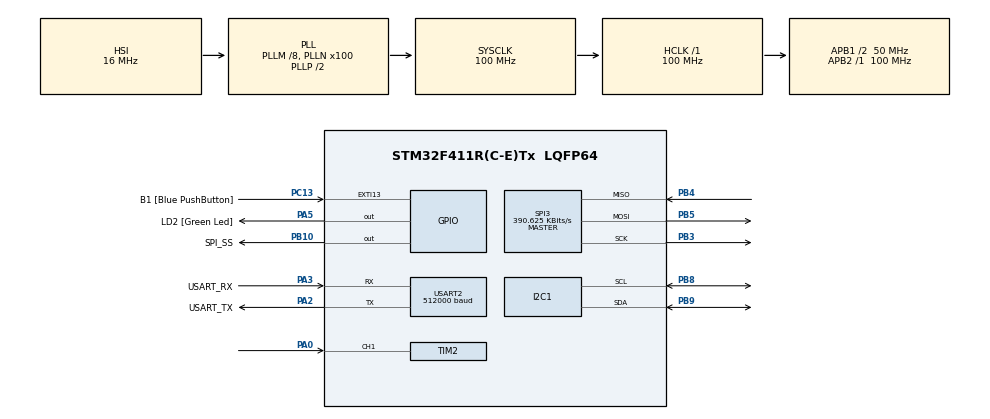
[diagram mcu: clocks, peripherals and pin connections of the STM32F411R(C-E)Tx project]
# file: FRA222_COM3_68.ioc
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ADC1.Channel-0\#ChannelRegularConversion=ADC_CHANNEL_TEMPSENSOR
ADC1.ContinuousConvMode=DISABLE
ADC1.DMAContinuousRequests=ENABLE
ADC1.ExternalTrigConv=ADC_EXTERNALTRIGCONV_T3_TRGO
ADC1.NbrOfConversionFlag=1
ADC1.Rank-0\#ChannelRegularConversion=1
ADC1.SamplingTime-0\#ChannelRegularConversion=ADC_SAMPLETIME_28CYCLES
ADC1.ScanConvMode=DISABLE
ADC1.master=1
Dma.ADC1.0.Direction=DMA_PERIPH_TO_MEMORY
Dma.ADC1.0.FIFOMode=DMA_FIFOMODE_DISABLE
Dma.ADC1.0.Instance=DMA2_Stream0
Dma.ADC1.0.MemDataAlignment=DMA_MDATAALIGN_HALFWORD
Dma.ADC1.0.MemInc=DMA_MINC_ENABLE
Dma.ADC1.0.Mode=DMA_CIRCULAR
Dma.ADC1.0.PeriphDataAlignment=DMA_PDATAALIGN_HALFWORD
Dma.ADC1.0.PeriphInc=DMA_PINC_DISABLE
Dma.ADC1.0.Priority=DMA_PRIORITY_LOW
Dma.Request0=ADC1
Dma.Request1=TIM2_CH1
Dma.TIM2_CH1.1.Direction=DMA_PERIPH_TO_MEMORY
Dma.TIM2_CH1.1.FIFOMode=DMA_FIFOMODE_DISABLE
Dma.TIM2_CH1.1.Instance=DMA1_Stream5
Dma.TIM2_CH1.1.MemDataAlignment=DMA_MDATAALIGN_WORD
Dma.TIM2_CH1.1.MemInc=DMA_MINC_ENABLE
Dma.TIM2_CH1.1.Mode=DMA_CIRCULAR
Dma.TIM2_CH1.1.PeriphDataAlignment=DMA_PDATAALIGN_WORD
Dma.TIM2_CH1.1.PeriphInc=DMA_PINC_DISABLE
Dma.TIM2_CH1.1.Priority=DMA_PRIORITY_LOW
I2C1.I2C_Mode=I2C_Fast
Mcu.Family=STM32F4
Mcu.Name=STM32F411R(C-E)Tx
Mcu.Package=LQFP64
NVIC.ADC_IRQn=true\:0\:0\:false\:false\:true\:true\:true\:true
NVIC.DMA1_Stream5_IRQn=true\:0\:0\:false\:false\:true\:false\:true\:true
NVIC.DMA2_Stream0_IRQn=true\:0\:0\:false\:false\:true\:false\:true\:true
NVIC.I2C1_ER_IRQn=true\:0\:0\:false\:false\:true\:true\:true\:true
NVIC.I2C1_EV_IRQn=true\:0\:0\:false\:false\:true\:true\:true\:true
NVIC.PriorityGroup=NVIC_PRIORITYGROUP_0
NVIC.SPI3_IRQn=true\:0\:0\:false\:false\:true\:true\:true\:true
NVIC.TIM1_TRG_COM_TIM11_IRQn=true\:0\:0\:false\:false\:true\:true\:true\:true
NVIC.TIM3_IRQn=true\:0\:0\:false\:false\:true\:true\:true\:true
NVIC.USART2_IRQn=true\:0\:0\:false\:false\:true\:true\:true\:true
PA0-WKUP.Signal=S_TIM2_CH1_ETR
PA13.GPIO_Label=TMS
PA13.Mode=Serial_Wire
PA13.Signal=SYS_JTMS-SWDIO
PA14.GPIO_Label=TCK
PA14.Mode=Serial_Wire
PA14.Signal=SYS_JTCK-SWCLK
PA2.GPIO_Label=USART_TX
PA2.Mode=Asynchronous
PA2.Signal=USART2_TX
PA3.GPIO_Label=USART_RX
PA3.Mode=Asynchronous
PA3.Signal=USART2_RX
PA5.GPIO_Label=LD2 [Green Led]
PA5.Signal=GPIO_Output
PB10.GPIO_Label=SPI_SS
PB10.PinState=GPIO_PIN_SET
PB10.Signal=GPIO_Output
PB3.Mode=Full_Duplex_Master
PB3.Signal=SPI3_SCK
PB4.Mode=Full_Duplex_Master
PB4.Signal=SPI3_MISO
PB5.Mode=Full_Duplex_Master
PB5.Signal=SPI3_MOSI
PB8.Mode=I2C
PB8.Signal=I2C1_SCL
PB9.Mode=I2C
PB9.Signal=I2C1_SDA
PC13-ANTI_TAMP.GPIO_Label=B1 [Blue PushButton]
PC13-ANTI_TAMP.GPIO_ModeDefaultEXTI=GPIO_MODE_IT_FALLING
PC13-ANTI_TAMP.Signal=GPXTI13
PC14-OSC32_IN.Mode=LSE-External-Oscillator
PC14-OSC32_IN.Signal=RCC_OSC32_IN
PC15-OSC32_OUT.Mode=LSE-External-Oscillator
PC15-OSC32_OUT.Signal=RCC_OSC32_OUT
PH0\ -\ OSC_IN.Mode=HSE-External-Clock-Source
PH0\ -\ OSC_IN.Signal=RCC_OSC_IN
PH1\ -\ OSC_OUT.Mode=HSE-External-Clock-Source
PH1\ -\ OSC_OUT.Signal=RCC_OSC_OUT
ProjectManager.HeapSize=0x200
ProjectManager.StackSize=0x400
ProjectManager.TargetToolchain=STM32CubeIDE
RCC.48MHZClocksFreq_Value=50000000
RCC.AHBFreq_Value=100000000
RCC.APB1CLKDivider=RCC_HCLK_DIV2
RCC.APB1Freq_Value=50000000
RCC.APB1TimFreq_Value=100000000
RCC.APB2Freq_Value=100000000
RCC.APB2TimFreq_Value=100000000
RCC.CortexFreq_Value=100000000
RCC.FLatency-AdvancedSettings=FLASH_LATENCY_3
RCC.HCLKFreq_Value=100000000
RCC.HSE_VALUE=8000000
RCC.HSI_VALUE=16000000
RCC.PLLM=8
RCC.PLLN=100
RCC.SYSCLKFreq_VALUE=100000000
RCC.SYSCLKSource=RCC_SYSCLKSOURCE_PLLCLK
RCC.VCOOutputFreq_Value=200000000
SH.S_TIM2_CH1_ETR.0=TIM2_CH1,Input_Capture1_from_TI1
SPI3.BaudRatePrescaler=SPI_BAUDRATEPRESCALER_128
SPI3.CalculateBaudRate=390.625 KBits/s
SPI3.DataSize=SPI_DATASIZE_8BIT
SPI3.Direction=SPI_DIRECTION_2LINES
SPI3.Mode=SPI_MODE_MASTER
SPI3.VirtualType=VM_MASTER
TIM11.Prescaler=99
TIM2.Channel-Input_Capture1_from_TI1=TIM_CHANNEL_1
TIM2.ICPolarity_CH1=TIM_INPUTCHANNELPOLARITY_FALLING
TIM2.Prescaler=9999
TIM3.Period=9999
TIM3.Prescaler=9999
TIM3.TIM_MasterOutputTrigger=TIM_TRGO_UPDATE
USART2.BaudRate=512000
USART2.Parity=PARITY_EVEN
USART2.VirtualMode=VM_ASYNC
USART2.WordLength=WORDLENGTH_9B
VP_ADC1_TempSens_Input.Mode=IN-TempSens
VP_TIM11_VS_ClockSourceINT.Mode=Enable_Timer
VP_TIM2_VS_ClockSourceINT.Mode=Internal
VP_TIM3_VS_ClockSourceINT.Mode=Internal
board=NUCLEO-F411RE

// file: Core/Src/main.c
/* USER CODE BEGIN Header */
// Code by Athimet
// Write at 70 BangWaek3 Phasi Charoen 10160 [Athimet home]
//test-
/**
  ******************************************************************************
  * @file           : main.c
  * @brief          : Main program body
  ******************************************************************************
  * @attention
  *
  * Copyright (c) 2022 STMicroelectronics.
  * All rights reserved.
  *
  * This software is licensed under terms that can be found in the LICENSE file
  * in the root directory of this software component.
  * If no LICENSE file comes with this software, it is provided AS-IS.
  *
  ******************************************************************************
  */
/* USER CODE END Header */
#include "main.h"

/* USER CODE BEGIN Includes */
#include <stdio.h>
#include <string.h>
/* USER CODE END Includes */

/* USER CODE BEGIN PD */
#define EEPROM_ADDR 0b10100000
#define WAIT_ADDR 0x0A
#define OPER_ADDR 0x1A
#define ENDS_ADDR 0x3A
#define CAPTURENUM 13
/* USER CODE END PD */

 ADC_HandleTypeDef hadc1;
DMA_HandleTypeDef hdma_adc1;

I2C_HandleTypeDef hi2c1;

SPI_HandleTypeDef hspi3;

TIM_HandleTypeDef htim2;
TIM_HandleTypeDef htim3;
TIM_HandleTypeDef htim11;
DMA_HandleTypeDef hdma_tim2_ch1;

UART_HandleTypeDef huart2;

/* USER CODE BEGIN PV */
// System time
uint64_t _micro = 0;
uint64_t timestampOpration = 0;
 // Robot
 typedef struct{
	 // val 0-255
	uint8_t WaitingTimeBuffer;
	uint8_t OperationTimeBuffer ;
	uint8_t EndStationBuffer ;
 	uint8_t WaitingTime;
 	uint8_t OperationTime ;
 	uint8_t EndStation ;
 	uint8_t StartStation ;

 }RobotManagement;

 static RobotManagement Robot;
 // State Machine
 static enum {init,StanBy,ParamSetting,StantionChoosing,EEpromWriteState,EEpromReadState} MCState = init;
 static enum {UserChooseWhatToDo,WaitingTimeEdit,OperationTimeEdit} ParamEditState = UserChooseWhatToDo;
 static enum {UserChooseStation,EEpromWriteState4ROBOT,RobotOperatingPart1,RobotOperatingPart2} StantionChoosingState = UserChooseStation;
 // UART PROTOCAL
 // Buffer
 char TxDataBuffer[64] =
 { 0 };
 // 1 key Only Program
 char RxDataBuffer[2] =
 { -1 };
 int8_t flagUART = 0;
 int16_t inputchar;

 // I2C
 uint8_t eepromWriteFlag = 0;
 uint8_t eepromReadFlag = 0;
 uint8_t eepromDataReadBack[3];
 uint16_t dataLen = 3 ;
 static uint8_t Senddata[3] = {0};

 // SPI
 // ADDR 0b 0100 0000
 uint8_t MCP23S17_OP = 0x40;
 uint8_t MCP23S17_GPIOA_ADDR = 0x15;
 static uint8_t OutputPacket[0x3];

 // ADC Temp
 uint16_t ADCin = 0;
 uint16_t Temp100Sec[100] = {0};
 uint8_t TempPos = 0;
 uint16_t Currenttemp =0;

 // InputCap
 uint32_t DMAdatabuffer[CAPTURENUM] = {0};
 // Diff time
 uint32_t DMATime[CAPTURENUM-1] = {0};
 // Mean time
 float AvgCPS = 0, Meantime = 0;

/* USER CODE END PV */

void SystemClock_Config(void);
static void MX_GPIO_Init(void);
static void MX_USART2_UART_Init(void);
static void MX_I2C1_Init(void);
static void MX_SPI3_Init(void);
static void MX_TIM3_Init(void);
static void MX_DMA_Init(void);
static void MX_TIM11_Init(void);
static void MX_ADC1_Init(void);
static void MX_TIM2_Init(void);
/* USER CODE BEGIN PFP */
uint64_t micros();
void StateMachineManagment();
int16_t UARTRecieveIT();
void EEPROMWriteFcn(uint8_t *Wdata, uint16_t len, uint16_t MemAd);
void EEPROMReadFcn(uint8_t *Rdata, uint16_t len, uint16_t MemAd);
void MCP23017SetOutput(uint8_t OP, uint8_t ADDR, uint8_t Data);
void MCP23017SetInit();
void CPSReaderCycle();
/* USER CODE END PFP */

int main(void)
{

  /* MCU Configuration--------------------------------------------------------*/

  /* Reset of all peripherals, Initializes the Flash interface and the Systick. */
  HAL_Init();

  /* Configure the system clock */
  SystemClock_Config();

  /* Initialize all configured peripherals */
  MX_GPIO_Init();
  MX_USART2_UART_Init();
  MX_I2C1_Init();
  MX_SPI3_Init();
  MX_TIM3_Init();
  MX_DMA_Init();
  MX_TIM11_Init();
  MX_ADC1_Init();
  MX_TIM2_Init();
  /* USER CODE BEGIN 2 */
  HAL_Delay(100);
  MCP23017SetInit();
	// Start Timer
	HAL_TIM_Base_Start_IT(&htim3);
	HAL_TIM_Base_Start_IT(&htim11);
	HAL_TIM_Base_Start(&htim2);
	// Start Input Cap
	HAL_TIM_IC_Start_DMA(&htim2, TIM_CHANNEL_1, (uint32_t*) &DMAdatabuffer, CAPTURENUM);
	// Start ADC
	HAL_ADC_Start_DMA(&hadc1, (uint32_t*) &ADCin, 1);
  /* USER CODE END 2 */

  /* Infinite loop */
  /* USER CODE BEGIN WHILE */
  while (1)
  {
	  StateMachineManagment();
		static uint64_t timestampCps = 0;
		if (micros() - timestampCps > 1000)
		{
			timestampCps = micros();
			CPSReaderCycle();
		}

    /* USER CODE END WHILE */

  }
}

void SystemClock_Config(void)
{
  RCC_OscInitTypeDef RCC_OscInitStruct = {0};
  RCC_ClkInitTypeDef RCC_ClkInitStruct = {0};

  /** Configure the main internal regulator output voltage
  */
  __HAL_RCC_PWR_CLK_ENABLE();
  __HAL_PWR_VOLTAGESCALING_CONFIG(PWR_REGULATOR_VOLTAGE_SCALE1);

  /** Initializes the RCC Oscillators according to the specified parameters
  * in the RCC_OscInitTypeDef structure.
  */
  RCC_OscInitStruct.OscillatorType = RCC_OSCILLATORTYPE_HSI;
  RCC_OscInitStruct.HSIState = RCC_HSI_ON;
  RCC_OscInitStruct.HSICalibrationValue = RCC_HSICALIBRATION_DEFAULT;
  RCC_OscInitStruct.PLL.PLLState = RCC_PLL_ON;
  RCC_OscInitStruct.PLL.PLLSource = RCC_PLLSOURCE_HSI;
  RCC_OscInitStruct.PLL.PLLM = 8;
  RCC_OscInitStruct.PLL.PLLN = 100;
  RCC_OscInitStruct.PLL.PLLP = RCC_PLLP_DIV2;
  RCC_OscInitStruct.PLL.PLLQ = 4;
  if (HAL_RCC_OscConfig(&RCC_OscInitStruct) != HAL_OK)
  {
    Error_Handler();
  }

  /** Initializes the CPU, AHB and APB buses clocks
  */
  RCC_ClkInitStruct.ClockType = RCC_CLOCKTYPE_HCLK|RCC_CLOCKTYPE_SYSCLK
                              |RCC_CLOCKTYPE_PCLK1|RCC_CLOCKTYPE_PCLK2;
  RCC_ClkInitStruct.SYSCLKSource = RCC_SYSCLKSOURCE_PLLCLK;
  RCC_ClkInitStruct.AHBCLKDivider = RCC_SYSCLK_DIV1;
  RCC_ClkInitStruct.APB1CLKDivider = RCC_HCLK_DIV2;
  RCC_ClkInitStruct.APB2CLKDivider = RCC_HCLK_DIV1;

  if (HAL_RCC_ClockConfig(&RCC_ClkInitStruct, FLASH_LATENCY_3) != HAL_OK)
  {
    Error_Handler();
  }
}

static void MX_ADC1_Init(void)
{

  ADC_ChannelConfTypeDef sConfig = {0};

  /** Configure the global features of the ADC (Clock, Resolution, Data Alignment and number of conversion)
  */
  hadc1.Instance = ADC1;
  hadc1.Init.ClockPrescaler = ADC_CLOCK_SYNC_PCLK_DIV4;
  hadc1.Init.Resolution = ADC_RESOLUTION_12B;
  hadc1.Init.ScanConvMode = DISABLE;
  hadc1.Init.ContinuousConvMode = DISABLE;
  hadc1.Init.DiscontinuousConvMode = DISABLE;
  hadc1.Init.ExternalTrigConvEdge = ADC_EXTERNALTRIGCONVEDGE_RISING;
  hadc1.Init.ExternalTrigConv = ADC_EXTERNALTRIGCONV_T3_TRGO;
  hadc1.Init.DataAlign = ADC_DATAALIGN_RIGHT;
  hadc1.Init.NbrOfConversion = 1;
  hadc1.Init.DMAContinuousRequests = ENABLE;
  hadc1.Init.EOCSelection = ADC_EOC_SINGLE_CONV;
  if (HAL_ADC_Init(&hadc1) != HAL_OK)
  {
    Error_Handler();
  }

  /** Configure for the selected ADC regular channel its corresponding rank in the sequencer and its sample time.
  */
  sConfig.Channel = ADC_CHANNEL_TEMPSENSOR;
  sConfig.Rank = 1;
  sConfig.SamplingTime = ADC_SAMPLETIME_28CYCLES;
  if (HAL_ADC_ConfigChannel(&hadc1, &sConfig) != HAL_OK)
  {
    Error_Handler();
  }

}

static void MX_I2C1_Init(void)
{

  hi2c1.Instance = I2C1;
  hi2c1.Init.ClockSpeed = 400000;
  hi2c1.Init.DutyCycle = I2C_DUTYCYCLE_2;
  hi2c1.Init.OwnAddress1 = 0;
  hi2c1.Init.AddressingMode = I2C_ADDRESSINGMODE_7BIT;
  hi2c1.Init.DualAddressMode = I2C_DUALADDRESS_DISABLE;
  hi2c1.Init.OwnAddress2 = 0;
  hi2c1.Init.GeneralCallMode = I2C_GENERALCALL_DISABLE;
  hi2c1.Init.NoStretchMode = I2C_NOSTRETCH_DISABLE;
  if (HAL_I2C_Init(&hi2c1) != HAL_OK)
  {
    Error_Handler();
  }

}

static void MX_SPI3_Init(void)
{

  /* SPI3 parameter configuration*/
  hspi3.Instance = SPI3;
  hspi3.Init.Mode = SPI_MODE_MASTER;
  hspi3.Init.Direction = SPI_DIRECTION_2LINES;
  hspi3.Init.DataSize = SPI_DATASIZE_8BIT;
  hspi3.Init.CLKPolarity = SPI_POLARITY_LOW;
  hspi3.Init.CLKPhase = SPI_PHASE_1EDGE;
  hspi3.Init.NSS = SPI_NSS_SOFT;
  hspi3.Init.BaudRatePrescaler = SPI_BAUDRATEPRESCALER_128;
  hspi3.Init.FirstBit = SPI_FIRSTBIT_MSB;
  hspi3.Init.TIMode = SPI_TIMODE_DISABLE;
  hspi3.Init.CRCCalculation = SPI_CRCCALCULATION_DISABLE;
  hspi3.Init.CRCPolynomial = 10;
  if (HAL_SPI_Init(&hspi3) != HAL_OK)
  {
    Error_Handler();
  }

}

static void MX_TIM2_Init(void)
{

  TIM_ClockConfigTypeDef sClockSourceConfig = {0};
  TIM_MasterConfigTypeDef sMasterConfig = {0};
  TIM_IC_InitTypeDef sConfigIC = {0};

  htim2.Instance = TIM2;
  htim2.Init.Prescaler = 9999;
  htim2.Init.CounterMode = TIM_COUNTERMODE_UP;
  htim2.Init.Period = 4294967295;
  htim2.Init.ClockDivision = TIM_CLOCKDIVISION_DIV1;
  htim2.Init.AutoReloadPreload = TIM_AUTORELOAD_PRELOAD_DISABLE;
  if (HAL_TIM_Base_Init(&htim2) != HAL_OK)
  {
    Error_Handler();
  }
  sClockSourceConfig.ClockSource = TIM_CLOCKSOURCE_INTERNAL;
  if (HAL_TIM_ConfigClockSource(&htim2, &sClockSourceConfig) != HAL_OK)
  {
    Error_Handler();
  }
  if (HAL_TIM_IC_Init(&htim2) != HAL_OK)
  {
    Error_Handler();
  }
  sMasterConfig.MasterOutputTrigger = TIM_TRGO_RESET;
  sMasterConfig.MasterSlaveMode = TIM_MASTERSLAVEMODE_DISABLE;
  if (HAL_TIMEx_MasterConfigSynchronization(&htim2, &sMasterConfig) != HAL_OK)
  {
    Error_Handler();
  }
  sConfigIC.ICPolarity = TIM_INPUTCHANNELPOLARITY_FALLING;
  sConfigIC.ICSelection = TIM_ICSELECTION_DIRECTTI;
  sConfigIC.ICPrescaler = TIM_ICPSC_DIV1;
  sConfigIC.ICFilter = 0;
  if (HAL_TIM_IC_ConfigChannel(&htim2, &sConfigIC, TIM_CHANNEL_1) != HAL_OK)
  {
    Error_Handler();
  }

}

static void MX_TIM3_Init(void)
{

  TIM_ClockConfigTypeDef sClockSourceConfig = {0};
  TIM_MasterConfigTypeDef sMasterConfig = {0};

  htim3.Instance = TIM3;
  htim3.Init.Prescaler = 9999;
  htim3.Init.CounterMode = TIM_COUNTERMODE_UP;
  htim3.Init.Period = 9999;
  htim3.Init.ClockDivision = TIM_CLOCKDIVISION_DIV1;
  htim3.Init.AutoReloadPreload = TIM_AUTORELOAD_PRELOAD_DISABLE;
  if (HAL_TIM_Base_Init(&htim3) != HAL_OK)
  {
    Error_Handler();
  }
  sClockSourceConfig.ClockSource = TIM_CLOCKSOURCE_INTERNAL;
  if (HAL_TIM_ConfigClockSource(&htim3, &sClockSourceConfig) != HAL_OK)
  {
    Error_Handler();
  }
  sMasterConfig.MasterOutputTrigger = TIM_TRGO_UPDATE;
  sMasterConfig.MasterSlaveMode = TIM_MASTERSLAVEMODE_DISABLE;
  if (HAL_TIMEx_MasterConfigSynchronization(&htim3, &sMasterConfig) != HAL_OK)
  {
    Error_Handler();
  }

}

static void MX_TIM11_Init(void)
{

  htim11.Instance = TIM11;
  htim11.Init.Prescaler = 99;
  htim11.Init.CounterMode = TIM_COUNTERMODE_UP;
  htim11.Init.Period = 65535;
  htim11.Init.ClockDivision = TIM_CLOCKDIVISION_DIV1;
  htim11.Init.AutoReloadPreload = TIM_AUTORELOAD_PRELOAD_DISABLE;
  if (HAL_TIM_Base_Init(&htim11) != HAL_OK)
  {
    Error_Handler();
  }

}

static void MX_USART2_UART_Init(void)
{

  huart2.Instance = USART2;
  huart2.Init.BaudRate = 512000;
  huart2.Init.WordLength = UART_WORDLENGTH_9B;
  huart2.Init.StopBits = UART_STOPBITS_1;
  huart2.Init.Parity = UART_PARITY_EVEN;
  huart2.Init.Mode = UART_MODE_TX_RX;
  huart2.Init.HwFlowCtl = UART_HWCONTROL_NONE;
  huart2.Init.OverSampling = UART_OVERSAMPLING_16;
  if (HAL_UART_Init(&huart2) != HAL_OK)
  {
    Error_Handler();
  }

}

static void MX_DMA_Init(void)
{

  /* DMA controller clock enable */
  __HAL_RCC_DMA2_CLK_ENABLE();
  __HAL_RCC_DMA1_CLK_ENABLE();

  /* DMA interrupt init */
  /* DMA1_Stream5_IRQn interrupt configuration */
  HAL_NVIC_SetPriority(DMA1_Stream5_IRQn, 0, 0);
  HAL_NVIC_EnableIRQ(DMA1_Stream5_IRQn);
  /* DMA2_Stream0_IRQn interrupt configuration */
  HAL_NVIC_SetPriority(DMA2_Stream0_IRQn, 0, 0);
  HAL_NVIC_EnableIRQ(DMA2_Stream0_IRQn);

}

static void MX_GPIO_Init(void)
{
  GPIO_InitTypeDef GPIO_InitStruct = {0};

  /* GPIO Ports Clock Enable */
  __HAL_RCC_GPIOC_CLK_ENABLE();
  __HAL_RCC_GPIOH_CLK_ENABLE();
  __HAL_RCC_GPIOA_CLK_ENABLE();
  __HAL_RCC_GPIOB_CLK_ENABLE();

  /*Configure GPIO pin Output Level */
  HAL_GPIO_WritePin(LD2_GPIO_Port, LD2_Pin, GPIO_PIN_RESET);

  /*Configure GPIO pin Output Level */
  HAL_GPIO_WritePin(SPI_SS_GPIO_Port, SPI_SS_Pin, GPIO_PIN_SET);

  /*Configure GPIO pin : B1_Pin */
  GPIO_InitStruct.Pin = B1_Pin;
  GPIO_InitStruct.Mode = GPIO_MODE_IT_FALLING;
  GPIO_InitStruct.Pull = GPIO_NOPULL;
  HAL_GPIO_Init(B1_GPIO_Port, &GPIO_InitStruct);

  /*Configure GPIO pin : LD2_Pin */
  GPIO_InitStruct.Pin = LD2_Pin;
  GPIO_InitStruct.Mode = GPIO_MODE_OUTPUT_PP;
  GPIO_InitStruct.Pull = GPIO_NOPULL;
  GPIO_InitStruct.Speed = GPIO_SPEED_FREQ_LOW;
  HAL_GPIO_Init(LD2_GPIO_Port, &GPIO_InitStruct);

  /*Configure GPIO pin : SPI_SS_Pin */
  GPIO_InitStruct.Pin = SPI_SS_Pin;
  GPIO_InitStruct.Mode = GPIO_MODE_OUTPUT_PP;
  GPIO_InitStruct.Pull = GPIO_NOPULL;
  GPIO_InitStruct.Speed = GPIO_SPEED_FREQ_LOW;
  HAL_GPIO_Init(SPI_SS_GPIO_Port, &GPIO_InitStruct);

}

/* USER CODE BEGIN 4 */
void StateMachineManagment()
{
	switch (MCState)
	{
		case init:
			// Header
			sprintf(TxDataBuffer, "\r\n---Program Start---\r\n");
			HAL_UART_Transmit(&huart2, (uint8_t*)TxDataBuffer, strlen(TxDataBuffer), 1000);
			// Main
			// SET PSI
			MCP23017SetOutput(MCP23S17_OP,MCP23S17_GPIOA_ADDR,0xFF);
			// State init
			ParamEditState = UserChooseWhatToDo;
			StantionChoosingState = UserChooseStation;
			// Init Robot
			Robot.WaitingTime = 0;
			Robot.OperationTime = 0;
			Robot.StartStation = 0;
			Robot.EndStation = 0;
			// EEPROM READ
			eepromReadFlag = 1;
			dataLen = 3;
			EEPROMReadFcn(eepromDataReadBack,dataLen,WAIT_ADDR);
			// Wait for Data
			HAL_Delay(100);
			// Wait for Data
			Robot.WaitingTime = eepromDataReadBack[0];
			Robot.OperationTime = eepromDataReadBack[1];
			Robot.StartStation = eepromDataReadBack[2];
			Robot.EndStation = eepromDataReadBack[2];
			Robot.WaitingTimeBuffer = Robot.WaitingTime;
			Robot.OperationTimeBuffer = Robot.OperationTime;
			Robot.EndStationBuffer = Robot.EndStation;
			// End
			flagUART = 0;
			MCState = StanBy;
			break;
		case StanBy:
			// Header
			if(flagUART == 0){
				sprintf(TxDataBuffer, "\r\n---------------------------\r\n");
				HAL_UART_Transmit(&huart2, (uint8_t*)TxDataBuffer, strlen(TxDataBuffer), 1000);
				sprintf(TxDataBuffer, "\r\nPlease Select Mode\r\n");
				HAL_UART_Transmit(&huart2, (uint8_t*)TxDataBuffer, strlen(TxDataBuffer), 1000);
				sprintf(TxDataBuffer, "\r\nRobot Status WaitingTime:[%d] OperationTime[%d]", Robot.WaitingTimeBuffer, Robot.OperationTimeBuffer);
				HAL_UART_Transmit(&huart2, (uint8_t*)TxDataBuffer, strlen(TxDataBuffer), 1000);
				sprintf(TxDataBuffer, " Start Station:[%d] End Station[%d]\r\n", Robot.StartStation, Robot.EndStation);
				HAL_UART_Transmit(&huart2, (uint8_t*)TxDataBuffer, strlen(TxDataBuffer), 1000);
				sprintf(TxDataBuffer, "\r\n+Type 1 for Robot Parameter Setting\r\n");
				HAL_UART_Transmit(&huart2, (uint8_t*)TxDataBuffer, strlen(TxDataBuffer), 1000);
				sprintf(TxDataBuffer, "+Type 2 for Choosing Destination Station\r\n");
				HAL_UART_Transmit(&huart2, (uint8_t*)TxDataBuffer, strlen(TxDataBuffer), 1000);
				sprintf(TxDataBuffer, "+Type 3 for EEPROM READ\r\n");
				HAL_UART_Transmit(&huart2, (uint8_t*)TxDataBuffer, strlen(TxDataBuffer), 1000);
				sprintf(TxDataBuffer, "\r\n---------------------------\r\n");
				HAL_UART_Transmit(&huart2, (uint8_t*)TxDataBuffer, strlen(TxDataBuffer), 1000);
				flagUART = 1;
			}
			// Main
			HAL_UART_Receive_IT(&huart2,  (uint8_t*)RxDataBuffer, 2);
			inputchar = UARTRecieveIT();
			if(inputchar!=-1)
			{
				if(inputchar == '1')
				{
					flagUART = 0;
					MCState = ParamSetting;
				}
				else if(inputchar == '2')
				{
					flagUART = 0;
					MCState = StantionChoosing;
				}
				else if(inputchar == '3')
				{
					flagUART = 0;
					MCState = EEpromReadState;
				}
				else
				{
					flagUART = 0;
					sprintf(TxDataBuffer, "\r\n---Wrong Command---\r\n");
					HAL_UART_Transmit(&huart2, (uint8_t*)TxDataBuffer, strlen(TxDataBuffer), 1000);
				}
			}
			break;
		case EEpromReadState:
			// Header
			if(flagUART == 0){
				sprintf(TxDataBuffer, "\r\n---------------------------\r\n");
				HAL_UART_Transmit(&huart2, (uint8_t*)TxDataBuffer, strlen(TxDataBuffer), 1000);
				sprintf(TxDataBuffer, "\r\nEEPROM is Operating\r\n");
				HAL_UART_Transmit(&huart2, (uint8_t*)TxDataBuffer, strlen(TxDataBuffer), 1000);
				sprintf(TxDataBuffer, "\r\n---------------------------\r\n");
				HAL_UART_Transmit(&huart2, (uint8_t*)TxDataBuffer, strlen(TxDataBuffer), 1000);
				flagUART = 1;
			}
			eepromReadFlag = 1;
			EEPROMReadFcn(eepromDataReadBack,dataLen,WAIT_ADDR);
			HAL_Delay(100);
			sprintf(TxDataBuffer, "\r\nWaitingTime:[%d] OperationTime[%d] EndStation[%d]", eepromDataReadBack[0], eepromDataReadBack[1],eepromDataReadBack[2]);
			HAL_UART_Transmit(&huart2, (uint8_t*)TxDataBuffer, strlen(TxDataBuffer), 1000);
			sprintf(TxDataBuffer, "\r\n---------------------------\r\n");
			HAL_UART_Transmit(&huart2, (uint8_t*)TxDataBuffer, strlen(TxDataBuffer), 1000);
			flagUART = 0;
			MCState = StanBy;
			break;
		case EEpromWriteState:
			eepromWriteFlag = 1;
			Senddata[0] = Robot.WaitingTime;
			Senddata[1] = Robot.OperationTime;
			Senddata[2] = Robot.EndStation;
			EEPROMWriteFcn(Senddata, dataLen, WAIT_ADDR);
			flagUART = 0;
			MCState = StanBy;
			break;
		case ParamSetting:
			// Sub-state
			switch (ParamEditState)
			{
				case UserChooseWhatToDo:
					// Header
					if(flagUART == 0){
						sprintf(TxDataBuffer, "\r\n---------------------------\r\n");
						HAL_UART_Transmit(&huart2, (uint8_t*)TxDataBuffer, strlen(TxDataBuffer), 1000);
						sprintf(TxDataBuffer, "\r\nPlease Select Parameter to edit\r\n");
						HAL_UART_Transmit(&huart2, (uint8_t*)TxDataBuffer, strlen(TxDataBuffer), 1000);
						sprintf(TxDataBuffer, "\r\nRobot Status WaitingTime:[%d] OperationTime[%d]", Robot.WaitingTimeBuffer, Robot.OperationTimeBuffer);
						HAL_UART_Transmit(&huart2, (uint8_t*)TxDataBuffer, strlen(TxDataBuffer), 1000);
						sprintf(TxDataBuffer, " Start Station:[%d] End Station[%d]\r\n", Robot.StartStation, Robot.EndStation);
						HAL_UART_Transmit(&huart2, (uint8_t*)TxDataBuffer, strlen(TxDataBuffer), 1000);
						sprintf(TxDataBuffer, "\r\n+Type 1 for WaitingTime Edit\r\n");
						HAL_UART_Transmit(&huart2, (uint8_t*)TxDataBuffer, strlen(TxDataBuffer), 1000);
						sprintf(TxDataBuffer, "+Type 2 for OperationTime Edit\r\n");
						HAL_UART_Transmit(&huart2, (uint8_t*)TxDataBuffer, strlen(TxDataBuffer), 1000);
						sprintf(TxDataBuffer, "+Type s to save\r\n");
						HAL_UART_Transmit(&huart2, (uint8_t*)TxDataBuffer, strlen(TxDataBuffer), 1000);
						sprintf(TxDataBuffer, "+Type x to cancel\r\n");
						HAL_UART_Transmit(&huart2, (uint8_t*)TxDataBuffer, strlen(TxDataBuffer), 1000);
						sprintf(TxDataBuffer, "\r\n---------------------------\r\n");
						HAL_UART_Transmit(&huart2, (uint8_t*)TxDataBuffer, strlen(TxDataBuffer), 1000);
						flagUART = 1;
					}
					// Main
					HAL_UART_Receive_IT(&huart2,  (uint8_t*)RxDataBuffer, 2);
					inputchar = UARTRecieveIT();
					if(inputchar!=-1)
					{
						if(inputchar == 'x')
						{
							Robot.WaitingTimeBuffer = Robot.WaitingTime;
							Robot.OperationTimeBuffer = Robot.OperationTime;
							flagUART = 0;
							MCState = StanBy;
						}
						else if(inputchar == '1')
						{
							flagUART = 0;
							ParamEditState = WaitingTimeEdit;
						}
						else if(inputchar == '2')
						{
							flagUART = 0;
							ParamEditState = OperationTimeEdit;
						}
						else if(inputchar == 's')
						{
							Robot.WaitingTime = Robot.WaitingTimeBuffer;
							Robot.OperationTime = Robot.OperationTimeBuffer;
							eepromWriteFlag = 1;
							Senddata[0] = Robot.WaitingTime;
							Senddata[1] = Robot.OperationTime;
							Senddata[2] = Robot.EndStation;
							EEPROMWriteFcn(Senddata, dataLen, WAIT_ADDR);
							flagUART = 0;
							MCState = StanBy;
						}
						else
						{
							flagUART = 0;
							sprintf(TxDataBuffer, "\r\n---Wrong Command---\r\n");
							HAL_UART_Transmit(&huart2, (uint8_t*)TxDataBuffer, strlen(TxDataBuffer), 1000);
						}
					}
					break;
				case WaitingTimeEdit:
					// Header
					if(flagUART == 0){
						sprintf(TxDataBuffer, "\r\n---WaitingTime Edit---\r\n");
						HAL_UART_Transmit(&huart2, (uint8_t*)TxDataBuffer, strlen(TxDataBuffer), 1000);
						sprintf(TxDataBuffer, "+Type + for +1 second\r\n");
						HAL_UART_Transmit(&huart2, (uint8_t*)TxDataBuffer, strlen(TxDataBuffer), 1000);
						sprintf(TxDataBuffer, "+Type - for -1 second\r\n");
						HAL_UART_Transmit(&huart2, (uint8_t*)TxDataBuffer, strlen(TxDataBuffer), 1000);
						sprintf(TxDataBuffer, "+Type x to back\r\n");
						HAL_UART_Transmit(&huart2, (uint8_t*)TxDataBuffer, strlen(TxDataBuffer), 1000);
						sprintf(TxDataBuffer, "\r\n----------------------\r\n");
						HAL_UART_Transmit(&huart2, (uint8_t*)TxDataBuffer, strlen(TxDataBuffer), 1000);
						flagUART = 1;
					}
					// Main
					HAL_UART_Receive_IT(&huart2,  (uint8_t*)RxDataBuffer, 2);
					inputchar = UARTRecieveIT();
					if(inputchar!=-1)
					{
						if(inputchar == 'x')
						{
							flagUART = 0;
							ParamEditState = UserChooseWhatToDo;
						}
						else if(inputchar == '+')
						{
							Robot.WaitingTimeBuffer++;
							sprintf(TxDataBuffer, "Current WaitingTime:[%d]\r\n", Robot.WaitingTimeBuffer);
							HAL_UART_Transmit(&huart2, (uint8_t*)TxDataBuffer, strlen(TxDataBuffer), 1000);
						}
						else if(inputchar == '-')
						{
							Robot.WaitingTimeBuffer--;
							sprintf(TxDataBuffer, "Current WaitingTime:[%d]\r\n", Robot.WaitingTimeBuffer);
							HAL_UART_Transmit(&huart2, (uint8_t*)TxDataBuffer, strlen(TxDataBuffer), 1000);
						}
						else
						{
							flagUART = 0;
							sprintf(TxDataBuffer, "\r\n---Wrong Command---\r\n");
							HAL_UART_Transmit(&huart2, (uint8_t*)TxDataBuffer, strlen(TxDataBuffer), 1000);
						}
					}
					break;
				case OperationTimeEdit:
					// Header
					if(flagUART == 0){
						sprintf(TxDataBuffer, "\r\n---OperationTime Edit---\r\n");
						HAL_UART_Transmit(&huart2, (uint8_t*)TxDataBuffer, strlen(TxDataBuffer), 1000);
						sprintf(TxDataBuffer, "+Type + for +1 second\r\n");
						HAL_UART_Transmit(&huart2, (uint8_t*)TxDataBuffer, strlen(TxDataBuffer), 1000);
						sprintf(TxDataBuffer, "+Type - for -1 second\r\n");
						HAL_UART_Transmit(&huart2, (uint8_t*)TxDataBuffer, strlen(TxDataBuffer), 1000);
						sprintf(TxDataBuffer, "+Type x to back\r\n");
						HAL_UART_Transmit(&huart2, (uint8_t*)TxDataBuffer, strlen(TxDataBuffer), 1000);
						sprintf(TxDataBuffer, "\r\n----------------------\r\n");
						HAL_UART_Transmit(&huart2, (uint8_t*)TxDataBuffer, strlen(TxDataBuffer), 1000);
						flagUART = 1;
					}
					// Main
					HAL_UART_Receive_IT(&huart2,  (uint8_t*)RxDataBuffer, 2);
					inputchar = UARTRecieveIT();
					if(inputchar!=-1)
					{
						if(inputchar == 'x')
						{
							flagUART = 0;
							ParamEditState = UserChooseWhatToDo;
						}
						else if(inputchar == '+')
						{
							Robot.OperationTimeBuffer++;
							sprintf(TxDataBuffer, "Current OperationTimeEdit:[%d]\r\n", Robot.OperationTimeBuffer);
							HAL_UART_Transmit(&huart2, (uint8_t*)TxDataBuffer, strlen(TxDataBuffer), 1000);
						}
						else if(inputchar == '-')
						{
							Robot.OperationTimeBuffer--;
							sprintf(TxDataBuffer, "Current OperationTimeEdit:[%d]\r\n", Robot.OperationTimeBuffer);
							HAL_UART_Transmit(&huart2, (uint8_t*)TxDataBuffer, strlen(TxDataBuffer), 1000);
						}
						else
						{
							flagUART = 0;
							sprintf(TxDataBuffer, "\r\n---Wrong Command---\r\n");
							HAL_UART_Transmit(&huart2, (uint8_t*)TxDataBuffer, strlen(TxDataBuffer), 1000);
						}
					}
					break;
			}
			break;
		case StantionChoosing:
			switch (StantionChoosingState)
			{
				case UserChooseStation:
					// Header
					if(flagUART == 0)
					{
						sprintf(TxDataBuffer, "\r\nPlease Select Destination Station\r\n");
						HAL_UART_Transmit(&huart2, (uint8_t*)TxDataBuffer, strlen(TxDataBuffer), 1000);
						sprintf(TxDataBuffer, "\r\nRobot Status WaitingTime:[%d] OperationTime[%d]", Robot.WaitingTimeBuffer, Robot.OperationTimeBuffer);
						HAL_UART_Transmit(&huart2, (uint8_t*)TxDataBuffer, strlen(TxDataBuffer), 1000);
						sprintf(TxDataBuffer, " Start Station:[%d] End Station[%d]\r\n", Robot.StartStation, Robot.EndStation);
						HAL_UART_Transmit(&huart2, (uint8_t*)TxDataBuffer, strlen(TxDataBuffer), 1000);
						sprintf(TxDataBuffer, "\r\n+Type + for +1 Station\r\n");
						HAL_UART_Transmit(&huart2, (uint8_t*)TxDataBuffer, strlen(TxDataBuffer), 1000);
						sprintf(TxDataBuffer, "+Type - for -1 Station\r\n");
						HAL_UART_Transmit(&huart2, (uint8_t*)TxDataBuffer, strlen(TxDataBuffer), 1000);
						sprintf(TxDataBuffer, "+Type x to cancel\r\n");
						HAL_UART_Transmit(&huart2, (uint8_t*)TxDataBuffer, strlen(TxDataBuffer), 1000);
						sprintf(TxDataBuffer, "+Type g to Start Operating\r\n");
						HAL_UART_Transmit(&huart2, (uint8_t*)TxDataBuffer, strlen(TxDataBuffer), 1000);
						sprintf(TxDataBuffer, "\r\n---------------------------\r\n");
						HAL_UART_Transmit(&huart2, (uint8_t*)TxDataBuffer, strlen(TxDataBuffer), 1000);
						flagUART = 1;
					}
					// Main
					HAL_UART_Receive_IT(&huart2,  (uint8_t*)RxDataBuffer, 2);
					// Main
					HAL_UART_Receive_IT(&huart2,  (uint8_t*)RxDataBuffer, 2);
					inputchar = UARTRecieveIT();
					if(inputchar!=-1)
					{
						if(inputchar == 'x')
						{
							Robot.EndStationBuffer = Robot.EndStation;
							flagUART = 0;
							MCState = StanBy;
						}
						else if(inputchar == '+')
						{
							Robot.EndStationBuffer++;
							Robot.EndStationBuffer %= 16;
							sprintf(TxDataBuffer, "Current End Station:[%d]\r\n", Robot.EndStationBuffer);
							HAL_UART_Transmit(&huart2, (uint8_t*)TxDataBuffer, strlen(TxDataBuffer), 1000);
						}
						else if(inputchar == '-')
						{
							Robot.EndStationBuffer--;
							Robot.EndStationBuffer %= 16;
							sprintf(TxDataBuffer, "Current End Station:[%d]\r\n", Robot.EndStationBuffer);
							HAL_UART_Transmit(&huart2, (uint8_t*)TxDataBuffer, strlen(TxDataBuffer), 1000);
						}
						else if(inputchar == 'g')
						{
							Robot.EndStation = Robot.EndStationBuffer;
							flagUART = 0;
							StantionChoosingState = EEpromWriteState4ROBOT;
						}
						else
						{
							flagUART = 0;
							sprintf(TxDataBuffer, "\r\n---Wrong Command---\r\n");
							HAL_UART_Transmit(&huart2, (uint8_t*)TxDataBuffer, strlen(TxDataBuffer), 1000);
						}
					}
					break;
				case EEpromWriteState4ROBOT:
					eepromWriteFlag = 1;
					Senddata[0] = Robot.WaitingTime;
					Senddata[1] = Robot.OperationTime;
					Senddata[2] = Robot.EndStation;
					EEPROMWriteFcn(Senddata, dataLen, WAIT_ADDR);
					flagUART = 0;
					StantionChoosingState = RobotOperatingPart1;
					break;
				case RobotOperatingPart1:
					if(flagUART == 0)
					{
						sprintf(TxDataBuffer, "\r\n-----Robot is Operating(1)-----\r\n");
						HAL_UART_Transmit(&huart2, (uint8_t*)TxDataBuffer, strlen(TxDataBuffer), 1000);
						flagUART = 1;
						// SPI
						timestampOpration = micros();
						MCP23017SetOutput(MCP23S17_OP,MCP23S17_GPIOA_ADDR,~Robot.StartStation);
					}
					if (micros() - timestampOpration > Robot.WaitingTime*1000000)
					{
						flagUART = 0;
						StantionChoosingState = RobotOperatingPart2;
					}

					break;
				case RobotOperatingPart2:
					if(flagUART == 0)
					{
						sprintf(TxDataBuffer, "\r\n-----Robot is Operating(2)-----\r\n");
						HAL_UART_Transmit(&huart2, (uint8_t*)TxDataBuffer, strlen(TxDataBuffer), 1000);
						flagUART = 1;
						// SPI
						timestampOpration = micros();
						MCP23017SetOutput(MCP23S17_OP,MCP23S17_GPIOA_ADDR,~Robot.EndStation);
					}
					if (micros() - timestampOpration > Robot.OperationTime*1000000)
					{
						Robot.StartStation = Robot.EndStation;
						flagUART = 0;
						MCP23017SetOutput(MCP23S17_OP,MCP23S17_GPIOA_ADDR,0xFF);
						StantionChoosingState = UserChooseStation;
					}

					break;
			}
			break;
	}
}

void MCP23017SetOutput(uint8_t OP, uint8_t ADDR, uint8_t Data)
{
//	 OP = 0b 0100 0000 (Write)
//	 ADRR = 0b 0000 0000 (0-22 Port)
//	 Data = 0b 0000 0000
//	 OutputPacket = 0b 0100 0000 | 0001 0100 | 0000 0000
	OutputPacket[0] = OP;
	OutputPacket[1] = ADDR;
	OutputPacket[2] = Data;

	HAL_GPIO_WritePin(SPI_SS_GPIO_Port, SPI_SS_Pin, GPIO_PIN_RESET);
	HAL_SPI_Transmit_IT(&hspi3, OutputPacket, 0x3);
}

void MCP23017SetInit()
{
	// OP = 0b 0100 0001 (Write)
	// ADRR = 0b 0000 0000 (IODIRA)
	static uint8_t Setting[0x3] = {
			0x40, // OP+ADDR
			0x01, // IODIRB
			0x00, //  USE SET AS OUTPUT 0b 0000 0000 tam dia law 0w0

	};
	HAL_GPIO_WritePin(SPI_SS_GPIO_Port, SPI_SS_Pin, GPIO_PIN_RESET);
	HAL_SPI_Transmit_IT(&hspi3, Setting, 0x3);
}

void HAL_SPI_TxCpltCallback(SPI_HandleTypeDef *hspi)
{
	if (hspi == &hspi3)
	{
		HAL_GPIO_WritePin(SPI_SS_GPIO_Port, SPI_SS_Pin, GPIO_PIN_SET);
	}
}

void EEPROMWriteFcn(uint8_t *Wdata, uint16_t len, uint16_t MemAd) {
	if (eepromWriteFlag && hi2c1.State == HAL_I2C_STATE_READY) {
		static uint8_t data;
		data = Wdata;
		HAL_I2C_Mem_Write_IT(&hi2c1, EEPROM_ADDR, MemAd, I2C_MEMADD_SIZE_16BIT,
				Wdata, len);
		eepromWriteFlag = 0;
	}
}
void EEPROMReadFcn(uint8_t *Rdata, uint16_t len, uint16_t MemAd) {
	if (eepromReadFlag && hi2c1.State == HAL_I2C_STATE_READY) {
		static uint8_t data;
		data = Rdata;
		HAL_I2C_Mem_Read_IT(&hi2c1, EEPROM_ADDR, MemAd, I2C_MEMADD_SIZE_16BIT,
				Rdata, len);
		eepromReadFlag = 0;
	}
}

int16_t UARTRecieveIT()
{
	static uint32_t dataPos =0;
	int16_t data=-1;
	if(huart2.RxXferSize - huart2.RxXferCount!=dataPos)
	{
		data=RxDataBuffer[dataPos];
		dataPos= (dataPos+1)%huart2.RxXferSize;
	}
	return data;
}

void HAL_TIM_PeriodElapsedCallback(TIM_HandleTypeDef *htim) {
	if (htim == &htim11) {
		_micro += 65535;
	}
	else if (htim == &htim3) {
		Temp100Sec[TempPos] = ADCin;
		TempPos++;
		TempPos %=100;
	}
}

uint64_t micros() {
	return _micro + htim11.Instance->CNT;
}

void HAL_ADC_ConvCpltCallback(ADC_HandleTypeDef *hadc)
{
	//（ Unit is °C）= {(V SENSE — V 25 ) / Avg_Slope} + 25
	Currenttemp = ((ADCin* (3.3 / 4096)- 0.76)/ 0.0025) + 25;
}

void CPSReaderCycle() {
	//get DMA Position form number of data
	uint32_t CapPos = CAPTURENUM -  __HAL_DMA_GET_COUNTER(htim2.hdma[TIM_DMA_ID_CC1]);
	uint32_t sum = 0 ;

	//calculate diff from all buffer except current dma
	for(register int i=2 ;i < CAPTURENUM-1;i++)
	{
//		DMATime[i]  = DMAdatabuffer[(CapPos+1+i)%CAPTURENUM]-DMAdatabuffer[(CapPos+i)%CAPTURENUM];
		DMATime[i]  = DMAdatabuffer[(CapPos+1+i)%CAPTURENUM];
		//Sum all  Diff
		sum += DMATime[i];
	}

	//mean all Diff
	Meantime = sum / 10;

	//CPS
	AvgCPS = (60/Meantime)*10000;
}

void HAL_UART_RxCpltCallback(UART_HandleTypeDef *huart)
{
//	sprintf(TxDataBuffer, "Received:[%s]\r\n", RxDataBuffer);
//	HAL_UART_Transmit(&huart2, (uint8_t*)TxDataBuffer, strlen(TxDataBuffer), 1000);
}
/* USER CODE END 4 */

void Error_Handler(void)
{
  __disable_irq();
  while (1)
  {
  }
}
